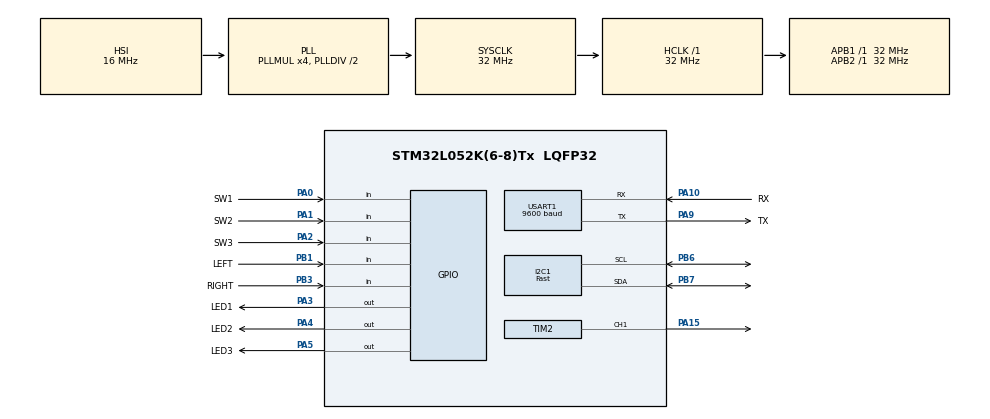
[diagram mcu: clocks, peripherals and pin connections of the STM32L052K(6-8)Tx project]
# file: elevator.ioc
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I2C1.I2C_Speed_Mode=I2C_Fast
I2C1.Timing=0x00300F38
Mcu.Family=STM32L0
Mcu.Name=STM32L052K(6-8)Tx
Mcu.Package=LQFP32
PA0.GPIO_Label=SW1
PA0.GPIO_PuPd=GPIO_PULLUP
PA0.Signal=GPIO_Input
PA1.GPIO_Label=SW2
PA1.GPIO_PuPd=GPIO_PULLUP
PA1.Signal=GPIO_Input
PA10.GPIO_Label=RX
PA10.Mode=Asynchronous
PA10.Signal=USART1_RX
PA15.Signal=S_TIM2_CH1
PA2.GPIO_Label=SW3
PA2.GPIO_PuPd=GPIO_PULLUP
PA2.Signal=GPIO_Input
PA3.GPIO_Label=LED1
PA3.Signal=GPIO_Output
PA4.GPIO_Label=LED2
PA4.Signal=GPIO_Output
PA5.GPIO_Label=LED3
PA5.Signal=GPIO_Output
PA9.GPIO_Label=TX
PA9.Mode=Asynchronous
PA9.Signal=USART1_TX
PB1.GPIO_Label=LEFT
PB1.GPIO_PuPd=GPIO_NOPULL
PB1.Signal=GPIO_Input
PB3.GPIO_Label=RIGHT
PB3.GPIO_PuPd=GPIO_NOPULL
PB3.Signal=GPIO_Input
PB6.GPIO_Pu=GPIO_NOPULL
PB6.Mode=I2C
PB6.Signal=I2C1_SCL
PB7.GPIO_Pu=GPIO_NOPULL
PB7.Mode=I2C
PB7.Signal=I2C1_SDA
ProjectManager.HeapSize=0x200
ProjectManager.StackSize=0x400
ProjectManager.TargetToolchain=STM32CubeIDE
RCC.AHBFreq_Value=32000000
RCC.APB1Freq_Value=32000000
RCC.APB1TimFreq_Value=32000000
RCC.APB2Freq_Value=32000000
RCC.APB2TimFreq_Value=32000000
RCC.HCLKFreq_Value=32000000
RCC.HSI16_VALUE=16000000
RCC.HSI48_VALUE=48000000
RCC.HSI_VALUE=16000000
RCC.LSE_VALUE=32768
RCC.MSI_VALUE=2097000
RCC.PLLMUL=RCC_PLLMUL_4
RCC.SYSCLKFreq_VALUE=32000000
RCC.SYSCLKSource=RCC_SYSCLKSOURCE_PLLCLK
RCC.VCOOutputFreq_Value=64000000
SH.S_TIM2_CH1.0=TIM2_CH1,PWM Generation1 CH1
TIM2.Channel-PWM\ Generation1\ CH1=TIM_CHANNEL_1
TIM2.Period=250-1
TIM2.Prescaler=32-1
TIM2.Pulse-PWM\ Generation1\ CH1=125-1
USART1.BaudRate=9600
USART1.VirtualMode-Asynchronous=VM_ASYNC
board=custom

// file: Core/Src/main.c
/* USER CODE BEGIN Header */
/**
 ******************************************************************************
 * @file           : main.c
 * @brief          : Main program body
 ******************************************************************************
 * @attention
 *
 * Copyright (c) 2023 STMicroelectronics.
 * All rights reserved.
 *
 * This software is licensed under terms that can be found in the LICENSE file
 * in the root directory of this software component.
 * If no LICENSE file comes with this software, it is provided AS-IS.
 *
 ******************************************************************************
 */
/* USER CODE END Header */
#include "main.h"

/* USER CODE BEGIN Includes */
#include <stdio.h>
#include <string.h>
#include <stdlib.h>
#include <time.h>
#include "stm32l0xx_hal.h"
#include "sht41.h"
#include "ens160.h"
#include "drv8830.h"
#include "NEXTION.h"
/* USER CODE END Includes */

/* USER CODE BEGIN PTD */

typedef enum{
	in_human,
	out_human,
}HUMAN_STATE_Typedef;

typedef enum{
	open,
	close
}DOOR_Typedef;

typedef enum{
	floor_1,
	floor_2,
	floor_3,
	floor_4,
	floor_5,
	floor_6,
	floor_7,
	floor_8,
	floor_9,
	floor_10,
	max_floor,
}FLOOR_Typedef;

typedef enum{
	sht41_temp,
	sht41_hum,
	ens160_co2,
	max_addr,
}SENSOR_ADDR_Typedef;

typedef struct{
	uint16_t x;
	uint16_t y;
	uint8_t touched;
}POS_Typedef;

typedef struct{
	uint16_t x0, y0;
	uint16_t x1, y1;
}AREA_Typedef;

typedef struct{
	AREA_Typedef area;
	uint16_t value;
	char* color;
}SENSOR_Typedef;

typedef struct{
	FLOOR_Typedef now_floor;
	FLOOR_Typedef goal_floor;

	HUMAN_STATE_Typedef human;

	uint8_t move_state;
	uint32_t move_tick;
	uint32_t floor_tick;
}ELEVATOR_Typedef;

/* USER CODE END PTD */

I2C_HandleTypeDef hi2c1;

TIM_HandleTypeDef htim2;

UART_HandleTypeDef huart1;

/* USER CODE BEGIN PV */
char bf[100];

uint8_t screen_update    = 0;
uint8_t call_state       = 0;
FLOOR_Typedef user_floor = floor_1;

POS_Typedef curXY = { 0, 0, 0 };
SENSOR_Typedef sensor[3] = {
		{ { 0,   0, 0   + 160, 30 }, 0, "RED" },
		{ { 160, 0, 160 + 160, 30 }, 0, "BLUE" },
		{ { 320, 0, 320 + 160, 30 }, 0, "GRAY" },
};

AREA_Typedef call_button_area = { 350, 150, 350 + 100, 150 + 40 };
AREA_Typedef keypad[12];

/* USER CODE END PV */

void SystemClock_Config(void);
static void MX_GPIO_Init(void);
static void MX_USART1_UART_Init(void);
static void MX_TIM2_Init(void);
static void MX_I2C1_Init(void);

/* USER CODE BEGIN 0 */

void BUZ(uint8_t state){
	if(state) HAL_TIM_PWM_Start(&htim2, TIM_CHANNEL_1);
	else      HAL_TIM_PWM_Stop(&htim2, TIM_CHANNEL_1);
}

void BUZ_hz_set(uint16_t hz){
	TIM2->ARR = 1000000 / hz - 1;
	TIM2->CCR1 = TIM2->ARR / 2;
}

void* get_sensor(SENSOR_ADDR_Typedef data){
	if(data == sht41_temp || data == sht41_hum){
		SHT41_t* buf = (SHT41_t*)malloc(sizeof(SHT41_t));
		*buf = getTempSht41();
		return buf;
	}
	else{
		uint16_t* buf = (uint16_t*)malloc(sizeof(uint16_t));
		*buf = getCO2();
		return buf;
	}
}

void free_reset(void** addr){
	free(*addr);
	*addr = NULL;
}

void nextion_inst_set(char* str){
	uint8_t end_cmd[3] = { 0xFF, 0xFF, 0xFF };
	HAL_UART_Transmit(&huart1, (uint8_t*)str, strlen(str), 100);
	HAL_UART_Transmit(&huart1, end_cmd, 3, 100);
}

void get_touch(POS_Typedef* buf){
	HAL_StatusTypeDef res = HAL_OK;
	uint8_t rx_data[8] = { 0, };

	nextion_inst_set("get tch0");
	res = HAL_UART_Receive(&huart1, rx_data, 8, 100);
	if(res == HAL_OK) { if(rx_data[0] == 0x71) { buf->x = rx_data[2] << 8 | rx_data[1]; } }

	nextion_inst_set("get tch1");
	res = HAL_UART_Receive(&huart1, rx_data, 8, 100);
	if(res == HAL_OK) { if(rx_data[0] == 0x71) { buf->y = rx_data[2] << 8 | rx_data[1]; } }

	if(buf->x > 0 && buf->y > 0) buf->touched = 1;
	else buf->touched = 0;
}

uint8_t area_check(POS_Typedef* xy, AREA_Typedef* area){
	if(xy->x >= area->x0 && xy->x <= area->x1){
		if(xy->y >= area->y0 && xy->y <= area->y1){
			return 1;
		}
	}
	return 0;
}

void main_dis(ELEVATOR_Typedef* data, uint8_t* door_x){
	/* get sensor value */
	SHT41_t*  sht41_value  = get_sensor(sht41_temp);
	uint16_t* ens160_value = get_sensor(ens160_co2);

	sensor[sht41_temp].value = (uint16_t)(sht41_value->temperature * 10.0f);
	sensor[sht41_hum].value  = (uint16_t)(sht41_value->humidity    * 10.0f);
	sensor[ens160_co2].value = *ens160_value;

	free_reset((void*)&sht41_value);
	free_reset((void*)&ens160_value);

	/* sensor values draw */
	for(SENSOR_ADDR_Typedef i = sht41_temp ; i < max_addr ; i++){
		if(i == sht41_temp)      sprintf(bf, "xstr %d,%d,160,30,0,WHITE,%s,1,1,1,\"%02d.%d%cC\"", sensor[i].area.x0, sensor[i].area.y0, sensor[i].color, sensor[i].value / 10, sensor[i].value % 10, 0xb0);
		else if(i == sht41_hum)  sprintf(bf, "xstr %d,%d,160,30,0,WHITE,%s,1,1,1,\"%02d.%d%%\"", sensor[i].area.x0, sensor[i].area.y0, sensor[i].color, sensor[i].value / 10, sensor[i].value % 10);
		else if(i == ens160_co2) sprintf(bf, "xstr %d,%d,160,30,0,WHITE,%s,1,1,1,\"%d\"", sensor[i].area.x0, sensor[i].area.y0, sensor[i].color, sensor[i].value);
		nextion_inst_set(bf);

		sprintf(bf, "draw %d,%d,%d,%d,BLACK", sensor[i].area.x0, sensor[i].area.y0, sensor[i].area.x1, sensor[i].area.y1);
		nextion_inst_set(bf);
	}

	/* floor draw */
	for(uint8_t i = 0 ; i < 10 ; i++){
		sprintf(bf, "fill 60,%d,45,15,WHITE", 100 + i * 15);
		nextion_inst_set(bf);

		sprintf(bf, "draw %d,%d,%d,%d,BLACK", 60, 100 + i * 15, 60 + 45, 100 + (i + 1) * 15);
		nextion_inst_set(bf);
	}

	/* floor unit draw */
	uint8_t cnt = 0;

	if(sensor[sht41_temp].value > 300)  cnt++;
	if(sensor[sht41_hum].value  > 700)  cnt++;
	if(sensor[ens160_co2].value > 1000) cnt++;

	sprintf(bf, "fill %d,%d,15,15,%s", 75, 100 + (9 - data->now_floor) * 15, cnt < 1 ? "GREEN" : cnt < 3 ? "YELLOW" : "RED");
	nextion_inst_set(bf);
	sprintf(bf, "draw %d,%d,%d,%d,BLACK", 75, 100 + (9 - data->now_floor) * 15, 75 + 15, 115 + (9 - data->now_floor) * 15);
	nextion_inst_set(bf);

	/* elevator draw */
	sprintf(bf, "xstr 190,60,100,30,0,RED,BLACK,1,1,1,\"%dF\"", data->now_floor + 1);
	nextion_inst_set(bf);

	if(data->move_state == 1){
		if(data->now_floor > data->goal_floor){
			nextion_inst_set("line 200,70,205,80,RED");
			nextion_inst_set("line 205,80,210,70,RED");
		}
		else if(data->goal_floor > data->now_floor){
			nextion_inst_set("line 200,80,205,70,RED");
			nextion_inst_set("line 205,70,210,80,RED");
		}
	}

	/* elevator door draw */
	nextion_inst_set("fill 160,95,160,170,GRAY");
	nextion_inst_set("draw 160,95,160+160,95+170,BLACK");

	nextion_inst_set("fill 160,95,160,30,WHITE");
	nextion_inst_set("draw 160,95,320,95+30,BLACK");

	/* left door */
	sprintf(bf, "fill 160,125,%d,140,WHITE", *door_x);
	nextion_inst_set(bf);
	sprintf(bf, "draw %d,%d,%d,%d,BLACK", 160, 125, 160 + *door_x, 125 + 140);
	nextion_inst_set(bf);

	/* right door */
	sprintf(bf, "fill %d,125,%d,140,WHITE", 240 + (80 - *door_x), *door_x);
	nextion_inst_set(bf);
	sprintf(bf, "draw %d,%d,%d,%d,BLACK", 240 + (80 - *door_x), 125, 320, 125 + 140);
	nextion_inst_set(bf);

	nextion_inst_set("fill 321,31,160,241,WHITE");

	if(data->human == out_human){
		sprintf(bf, "xstr 350,110,100,30,0,BLACK,WHITE,1,1,1,\"%dF\"", user_floor + 1);
		nextion_inst_set(bf);
		nextion_inst_set("draw 350,110,350+100,110+30,BLACK");

		sprintf(bf, "fill %d,%d,100,40,GRAY", call_button_area.x0, call_button_area.y0);
		nextion_inst_set(bf);
		sprintf(bf, "draw %d,%d,%d,%d,%s", call_button_area.x0, call_button_area.y0, call_button_area.x1, call_button_area.y1, call_state == 0 ? "BLACK" : "RED");
		nextion_inst_set(bf);

		sprintf(bf, "cir %d,%d,15,%s", call_button_area.x0 + 50, call_button_area.y0 + 20, call_state == 0 ? "BLACK" : "RED");
		nextion_inst_set(bf);
	}
	else{
		for(uint8_t i = 0 ; i < 10 ; i++){
			sprintf(bf, "xstr %d,%d,30,30,0,%s,GRAY,1,1,1,\"%d\"", keypad[i].x0, keypad[i].y0, (i == data->goal_floor && data->move_state == 1) ? "RED" : "BLACK", i + 1);
			nextion_inst_set(bf);

			sprintf(bf, "draw %d,%d,%d,%d,%s", keypad[i].x0, keypad[i].y0, keypad[i].x1, keypad[i].y1, (i == data->goal_floor && data->move_state == 1) ? "RED" : "BLACK");
			nextion_inst_set(bf);
		}
	}
}

void task_fuc(void){
	uint32_t sensor_tick = 0;

	DOOR_Typedef now_door_state = close;
	uint32_t door_tick = 0;
	uint8_t door_x = 80;

	uint32_t buz_tick = 0;
	uint8_t buzM = 0;

	uint8_t befo_touch = 0;

	ELEVATOR_Typedef elevator = { floor_1, elevator.now_floor, out_human, 0, 0, 0 };

	srand((unsigned)time(NULL));

	nextion_inst_set("cls WHITE");
	nextion_inst_set("cls WHITE");
	nextion_inst_set("cls WHITE");

	while(1){
		get_touch(&curXY);

		if(screen_update == 0){
			main_dis(&elevator, &door_x);

			screen_update = 1;
		}

		if(befo_touch != curXY.touched && curXY.touched == 1){
			AREA_Typedef elevator_area = { 160, 95, 320, 95 + 170 };

			if(elevator.human == out_human){
				if(area_check(&curXY, &call_button_area)){
					screen_update = 0;

					call_state = call_state == 0 ? 1 : call_state;

					elevator.goal_floor = user_floor;
					elevator.move_state = 1;
				}
			}
			else{
				for(FLOOR_Typedef i = 0 ; i < max_floor ; i++){
					if(area_check(&curXY, &keypad[i])){
						screen_update = 0;

						call_state = 1;

						elevator.move_state = 1;
						elevator.goal_floor = i;
						now_door_state = close;

						break;
					}
				}
			}

			if(area_check(&curXY, &elevator_area) && now_door_state == open){
				screen_update = 0;

				elevator.human = elevator.human == out_human ? in_human : out_human;
			}
		}

		if(HAL_GetTick() - sensor_tick >= 500){
			sensor_tick = HAL_GetTick();

			screen_update = 0;
		}

		if(elevator.human == out_human && call_state == 0 && now_door_state == close){
			if(elevator.move_state == 0){
				if(HAL_GetTick() - elevator.floor_tick >= 10000){
					elevator.floor_tick = HAL_GetTick();

					while(elevator.now_floor == elevator.goal_floor) elevator.goal_floor = rand() % max_floor;
					elevator.move_state = 1;
				}
			}
		}
		else elevator.floor_tick = HAL_GetTick();

		if(elevator.move_state == 1){
			if(HAL_GetTick() - elevator.move_tick >= 1000){
				elevator.move_tick = HAL_GetTick();

				screen_update = 0;

				if(door_x == 80) elevator.now_floor = elevator.now_floor > elevator.goal_floor ? elevator.now_floor - 1 : elevator.now_floor < elevator.goal_floor ? elevator.now_floor + 1 : elevator.now_floor;

				if(elevator.now_floor == elevator.goal_floor) {
					if(call_state == 1){
						buzM = 1;

						now_door_state = now_door_state == close ? open : close;
						call_state = 0;
						user_floor = elevator.now_floor;
					}
					elevator.move_state = 0;
				}
			}
		}
		else elevator.move_tick = HAL_GetTick();

		if(HAL_GetTick() - door_tick > 30){
			static uint8_t sensing_pir = 0;

			door_tick = HAL_GetTick();

			if(now_door_state == open && door_x > 0){
				screen_update = 0;
				door_x--;
				setMotor(DRV8830_CW);

				if((PIR_LEFT || PIR_RIGHT) && sensing_pir == 0){
					sensing_pir = 1;

					BUZ_hz_set(4000);

					setMotor(DRV8830_STOP);

					for(uint8_t i = 0 ; i < 5 ; i++){
						BUZ(1);
						HAL_Delay(50);
						BUZ(0);
						HAL_Delay(50);
					}

					now_door_state = close;
				}
			}
			else if(now_door_state == close && door_x < 80){
				screen_update = 0;
				door_x++;
				setMotor(DRV8830_CCW);

				if((PIR_LEFT || PIR_RIGHT) && sensing_pir == 0){
					sensing_pir = 1;

					BUZ_hz_set(4000);

					setMotor(DRV8830_STOP);

					for(uint8_t i = 0 ; i < 5 ; i++){
						BUZ(1);
						HAL_Delay(50);
						BUZ(0);
						HAL_Delay(50);
					}

					now_door_state = open;
				}
			}
			else { setMotor(DRV8830_STOP); sensing_pir = 0; }
		}

		if(buzM == 1){
			static uint16_t buz_hz = 600;

			BUZ(1);
			BUZ_hz_set(buz_hz);

			if(HAL_GetTick() - buz_tick >= 200){
				buz_tick = HAL_GetTick();

				buz_hz += 200;
			}

			if(buz_hz >= 1400) { BUZ(0); buzM = 0; buz_hz = 600; }
		}
		else buz_tick = HAL_GetTick();

		befo_touch = curXY.touched;

		/* coordinate display for task testing */
		/* sprintf(bf, "xstr 0,31,150,30,0,BLACK,WHITE,0,1,1,\"X: %d Y: %d\"", curXY.x, curXY.y); */
		/* nextion_inst_set(bf); */
	}
}

/* USER CODE END 0 */

int main(void)
{

	/* MCU Configuration--------------------------------------------------------*/

	/* Reset of all peripherals, Initializes the Flash interface and the Systick. */
	HAL_Init();

	/* Configure the system clock */
	SystemClock_Config();

	/* Initialize all configured peripherals */
	MX_GPIO_Init();
	MX_USART1_UART_Init();
	MX_TIM2_Init();
	MX_I2C1_Init();
	/* USER CODE BEGIN 2 */
	initEns160();
	initDrv8830();

	LED1(0);
	LED2(0);
	LED3(0);

	setMotor(DRV8830_STOP);

	nextion_inst_set("baud=921600");
	nextion_inst_set("baud=921600");
	nextion_inst_set("baud=921600");
	HAL_Delay(50);
	USART1->CR1 &= (~USART_CR1_UE);
	USART1->BRR = 0x23;
	USART1->CR1 |= USART_CR1_UE;
	HAL_Delay(1000);

	for(uint8_t i = 0 ; i < 10 ; i++){
		keypad[i].x0 = (i / 5) * 70 + 350;
		keypad[i].y0 = (i % 5) * 40 + 60;

		keypad[i].x1 = keypad[i].x0 + 30;
		keypad[i].y1 = keypad[i].y0 + 30;
	}

	task_fuc();
	/* USER CODE END 2 */

	/* Infinite loop */
	while (1)
	{

	}
}

void SystemClock_Config(void)
{
	RCC_OscInitTypeDef RCC_OscInitStruct = {0};
	RCC_ClkInitTypeDef RCC_ClkInitStruct = {0};
	RCC_PeriphCLKInitTypeDef PeriphClkInit = {0};

	/** Configure the main internal regulator output voltage
	 */
	__HAL_PWR_VOLTAGESCALING_CONFIG(PWR_REGULATOR_VOLTAGE_SCALE1);

	/** Initializes the RCC Oscillators according to the specified parameters
	 * in the RCC_OscInitTypeDef structure.
	 */
	RCC_OscInitStruct.OscillatorType = RCC_OSCILLATORTYPE_HSI;
	RCC_OscInitStruct.HSIState = RCC_HSI_ON;
	RCC_OscInitStruct.HSICalibrationValue = RCC_HSICALIBRATION_DEFAULT;
	RCC_OscInitStruct.PLL.PLLState = RCC_PLL_ON;
	RCC_OscInitStruct.PLL.PLLSource = RCC_PLLSOURCE_HSI;
	RCC_OscInitStruct.PLL.PLLMUL = RCC_PLLMUL_4;
	RCC_OscInitStruct.PLL.PLLDIV = RCC_PLLDIV_2;
	if (HAL_RCC_OscConfig(&RCC_OscInitStruct) != HAL_OK)
	{
		Error_Handler();
	}

	/** Initializes the CPU, AHB and APB buses clocks
	 */
	RCC_ClkInitStruct.ClockType = RCC_CLOCKTYPE_HCLK|RCC_CLOCKTYPE_SYSCLK
			|RCC_CLOCKTYPE_PCLK1|RCC_CLOCKTYPE_PCLK2;
	RCC_ClkInitStruct.SYSCLKSource = RCC_SYSCLKSOURCE_PLLCLK;
	RCC_ClkInitStruct.AHBCLKDivider = RCC_SYSCLK_DIV1;
	RCC_ClkInitStruct.APB1CLKDivider = RCC_HCLK_DIV1;
	RCC_ClkInitStruct.APB2CLKDivider = RCC_HCLK_DIV1;

	if (HAL_RCC_ClockConfig(&RCC_ClkInitStruct, FLASH_LATENCY_1) != HAL_OK)
	{
		Error_Handler();
	}
	PeriphClkInit.PeriphClockSelection = RCC_PERIPHCLK_USART1|RCC_PERIPHCLK_I2C1;
	PeriphClkInit.Usart1ClockSelection = RCC_USART1CLKSOURCE_PCLK2;
	PeriphClkInit.I2c1ClockSelection = RCC_I2C1CLKSOURCE_PCLK1;
	if (HAL_RCCEx_PeriphCLKConfig(&PeriphClkInit) != HAL_OK)
	{
		Error_Handler();
	}
}

static void MX_I2C1_Init(void)
{

	hi2c1.Instance = I2C1;
	hi2c1.Init.Timing = 0x00300F38;
	hi2c1.Init.OwnAddress1 = 0;
	hi2c1.Init.AddressingMode = I2C_ADDRESSINGMODE_7BIT;
	hi2c1.Init.DualAddressMode = I2C_DUALADDRESS_DISABLE;
	hi2c1.Init.OwnAddress2 = 0;
	hi2c1.Init.OwnAddress2Masks = I2C_OA2_NOMASK;
	hi2c1.Init.GeneralCallMode = I2C_GENERALCALL_DISABLE;
	hi2c1.Init.NoStretchMode = I2C_NOSTRETCH_DISABLE;
	if (HAL_I2C_Init(&hi2c1) != HAL_OK)
	{
		Error_Handler();
	}

	/** Configure Analogue filter
	 */
	if (HAL_I2CEx_ConfigAnalogFilter(&hi2c1, I2C_ANALOGFILTER_ENABLE) != HAL_OK)
	{
		Error_Handler();
	}

	/** Configure Digital filter
	 */
	if (HAL_I2CEx_ConfigDigitalFilter(&hi2c1, 0) != HAL_OK)
	{
		Error_Handler();
	}

}

static void MX_TIM2_Init(void)
{

	TIM_MasterConfigTypeDef sMasterConfig = {0};
	TIM_OC_InitTypeDef sConfigOC = {0};

	htim2.Instance = TIM2;
	htim2.Init.Prescaler = 32-1;
	htim2.Init.CounterMode = TIM_COUNTERMODE_UP;
	htim2.Init.Period = 250-1;
	htim2.Init.ClockDivision = TIM_CLOCKDIVISION_DIV1;
	htim2.Init.AutoReloadPreload = TIM_AUTORELOAD_PRELOAD_DISABLE;
	if (HAL_TIM_PWM_Init(&htim2) != HAL_OK)
	{
		Error_Handler();
	}
	sMasterConfig.MasterOutputTrigger = TIM_TRGO_RESET;
	sMasterConfig.MasterSlaveMode = TIM_MASTERSLAVEMODE_DISABLE;
	if (HAL_TIMEx_MasterConfigSynchronization(&htim2, &sMasterConfig) != HAL_OK)
	{
		Error_Handler();
	}
	sConfigOC.OCMode = TIM_OCMODE_PWM1;
	sConfigOC.Pulse = 125-1;
	sConfigOC.OCPolarity = TIM_OCPOLARITY_HIGH;
	sConfigOC.OCFastMode = TIM_OCFAST_DISABLE;
	if (HAL_TIM_PWM_ConfigChannel(&htim2, &sConfigOC, TIM_CHANNEL_1) != HAL_OK)
	{
		Error_Handler();
	}
	HAL_TIM_MspPostInit(&htim2);

}

static void MX_USART1_UART_Init(void)
{

	huart1.Instance = USART1;
	huart1.Init.BaudRate = 9600;
	huart1.Init.WordLength = UART_WORDLENGTH_8B;
	huart1.Init.StopBits = UART_STOPBITS_1;
	huart1.Init.Parity = UART_PARITY_NONE;
	huart1.Init.Mode = UART_MODE_TX_RX;
	huart1.Init.HwFlowCtl = UART_HWCONTROL_NONE;
	huart1.Init.OverSampling = UART_OVERSAMPLING_16;
	huart1.Init.OneBitSampling = UART_ONE_BIT_SAMPLE_DISABLE;
	huart1.AdvancedInit.AdvFeatureInit = UART_ADVFEATURE_NO_INIT;
	if (HAL_UART_Init(&huart1) != HAL_OK)
	{
		Error_Handler();
	}

}

static void MX_GPIO_Init(void)
{
	GPIO_InitTypeDef GPIO_InitStruct = {0};

	/* GPIO Ports Clock Enable */
	__HAL_RCC_GPIOA_CLK_ENABLE();
	__HAL_RCC_GPIOB_CLK_ENABLE();

	/*Configure GPIO pin Output Level */
	HAL_GPIO_WritePin(GPIOA, LED1_Pin|LED2_Pin|LED3_Pin, GPIO_PIN_RESET);

	/*Configure GPIO pins : SW1_Pin SW2_Pin SW3_Pin */
	GPIO_InitStruct.Pin = SW1_Pin|SW2_Pin|SW3_Pin;
	GPIO_InitStruct.Mode = GPIO_MODE_INPUT;
	GPIO_InitStruct.Pull = GPIO_PULLUP;
	HAL_GPIO_Init(GPIOA, &GPIO_InitStruct);

	/*Configure GPIO pins : LED1_Pin LED2_Pin LED3_Pin */
	GPIO_InitStruct.Pin = LED1_Pin|LED2_Pin|LED3_Pin;
	GPIO_InitStruct.Mode = GPIO_MODE_OUTPUT_PP;
	GPIO_InitStruct.Pull = GPIO_NOPULL;
	GPIO_InitStruct.Speed = GPIO_SPEED_FREQ_LOW;
	HAL_GPIO_Init(GPIOA, &GPIO_InitStruct);

	/*Configure GPIO pins : LEFT_Pin RIGHT_Pin */
	GPIO_InitStruct.Pin = LEFT_Pin|RIGHT_Pin;
	GPIO_InitStruct.Mode = GPIO_MODE_INPUT;
	GPIO_InitStruct.Pull = GPIO_NOPULL;
	HAL_GPIO_Init(GPIOB, &GPIO_InitStruct);

}

void Error_Handler(void)
{
	__disable_irq();
	while (1)
	{
	}
}
